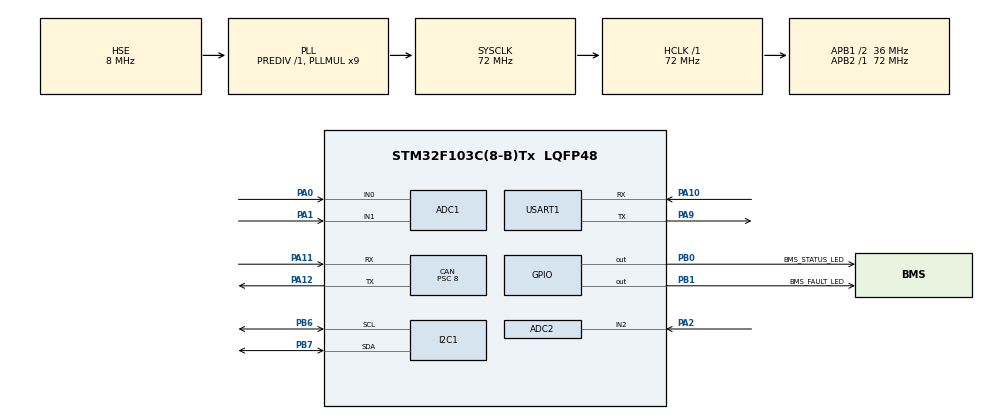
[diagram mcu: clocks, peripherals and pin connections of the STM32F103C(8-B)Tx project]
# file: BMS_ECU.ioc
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ADC1.Channel-0\#ChannelRegularConversion=ADC_CHANNEL_0
ADC1.Channel-1\#ChannelRegularConversion=ADC_CHANNEL_1
ADC1.Channel-2\#ChannelRegularConversion=ADC_CHANNEL_2
ADC1.NbrOfConversion=3
ADC1.NbrOfConversionFlag=1
ADC1.Rank-0\#ChannelRegularConversion=1
ADC1.Rank-1\#ChannelRegularConversion=2
ADC1.Rank-2\#ChannelRegularConversion=3
ADC1.SamplingTime-0\#ChannelRegularConversion=ADC_SAMPLETIME_55CYCLES_5
ADC1.SamplingTime-1\#ChannelRegularConversion=ADC_SAMPLETIME_55CYCLES_5
ADC1.SamplingTime-2\#ChannelRegularConversion=ADC_SAMPLETIME_55CYCLES_5
ADC1.master=1
ADC2.Channel-0\#ChannelRegularConversion=ADC_CHANNEL_2
ADC2.NbrOfConversionFlag=1
ADC2.Rank-0\#ChannelRegularConversion=1
ADC2.SamplingTime-0\#ChannelRegularConversion=ADC_SAMPLETIME_1CYCLE_5
CAN.BS1=CAN_BS1_7TQ
CAN.CalculateBaudRate=500000
CAN.CalculateTimeBit=2000
CAN.CalculateTimeQuantum=222.22222222222223
CAN.NART=ENABLE
CAN.Prescaler=8
Mcu.Family=STM32F1
Mcu.Name=STM32F103C(8-B)Tx
Mcu.Package=LQFP48
NVIC.CAN1_SCE_IRQn=true\:0\:0\:false\:false\:true\:true\:true\:true
NVIC.PriorityGroup=NVIC_PRIORITYGROUP_4
NVIC.USB_LP_CAN1_RX0_IRQn=true\:0\:0\:false\:false\:true\:true\:true\:true
PA0-WKUP.Signal=ADCx_IN0
PA1.Signal=ADCx_IN1
PA10.Mode=Asynchronous
PA10.Signal=USART1_RX
PA11.Mode=CAN_Activate
PA11.Signal=CAN_RX
PA12.Mode=CAN_Activate
PA12.Signal=CAN_TX
PA13.Mode=Serial_Wire
PA13.Signal=SYS_JTMS-SWDIO
PA14.Mode=Serial_Wire
PA14.Signal=SYS_JTCK-SWCLK
PA2.Signal=ADCx_IN2
PA9.Mode=Asynchronous
PA9.Signal=USART1_TX
PB0.GPIO_Label=BMS_STATUS_LED
PB0.Signal=GPIO_Output
PB1.GPIO_Label=BMS_FAULT_LED
PB1.Signal=GPIO_Output
PB6.Mode=I2C
PB6.Signal=I2C1_SCL
PB7.Mode=I2C
PB7.Signal=I2C1_SDA
PD0-OSC_IN.Mode=HSE-External-Oscillator
PD0-OSC_IN.Signal=RCC_OSC_IN
PD1-OSC_OUT.Mode=HSE-External-Oscillator
PD1-OSC_OUT.Signal=RCC_OSC_OUT
ProjectManager.HeapSize=0x200
ProjectManager.StackSize=0x400
ProjectManager.TargetToolchain=STM32CubeIDE
RCC.ADCPresc=RCC_ADCPCLK2_DIV6
RCC.AHBFreq_Value=72000000
RCC.APB1CLKDivider=RCC_HCLK_DIV2
RCC.APB1Freq_Value=36000000
RCC.APB1TimFreq_Value=72000000
RCC.APB2Freq_Value=72000000
RCC.APB2TimFreq_Value=72000000
RCC.HCLKFreq_Value=72000000
RCC.PLLMUL=RCC_PLL_MUL9
RCC.PLLSourceVirtual=RCC_PLLSOURCE_HSE
RCC.SYSCLKFreq_VALUE=72000000
RCC.SYSCLKSource=RCC_SYSCLKSOURCE_PLLCLK
RCC.USBFreq_Value=72000000
SH.ADCx_IN0.0=ADC1_IN0,IN0
SH.ADCx_IN1.0=ADC1_IN1,IN1
SH.ADCx_IN2.0=ADC2_IN2,IN2
SH.ADCx_IN2.1=ADC1_IN2,IN2
USART1.VirtualMode=VM_ASYNC
board=custom

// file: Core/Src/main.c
/* USER CODE BEGIN Header */
/**
  ******************************************************************************
  * @file           : main.c
  * @brief          : BMS ECU main application
  ******************************************************************************
  */
/* USER CODE END Header */

#include "main.h"

/* USER CODE BEGIN Includes */

#include "adc.h"
#include "can.h"
#include "i2c.h"
#include "usart.h"

#include "bms_data.h"
#include "bms_config.h"
#include "bms_adc.h"
#include "bms_temperature.h"
#include "bms_soc.h"
#include "bms_soh.h"
#include "bms_faults.h"
#include "bms_can.h"
#include "bms_state.h"
#include "bms_lcd.h"

/* USER CODE END Includes */

/* USER CODE BEGIN PV */

static uint32_t last_adc_update = 0U;
static uint32_t last_temperature_update = 0U;
static uint32_t last_fault_update = 0U;
static uint32_t last_can_update = 0U;
static uint32_t last_lcd_update = 0U;
static uint32_t last_state_update = 0U;

/* USER CODE END PV */

void SystemClock_Config(void);
static void MX_GPIO_Init(void);

/* USER CODE BEGIN PFP */

static void BMS_UpdateOutputs(void);

/* USER CODE END PFP */

/* USER CODE BEGIN 0 */

/**
  * @brief Update BMS status and fault LEDs.
  *
  * PB0 = BMS status LED
  * PB1 = BMS fault LED
  */
static void BMS_UpdateOutputs(void)
{
    BMS_SystemState_t state = BMS_Data.system_state;

    /* ---------------------------------------------------------- */
    /* STATUS LED                                                  */
    /* ---------------------------------------------------------- */

    if ((state == BMS_SYSTEM_NORMAL) ||
        (state == BMS_SYSTEM_WARNING))
    {
        HAL_GPIO_WritePin(
            BMS_STATUS_LED_GPIO_PORT,
            BMS_STATUS_LED_PIN,
            GPIO_PIN_SET);
    }
    else
    {
        HAL_GPIO_WritePin(
            BMS_STATUS_LED_GPIO_PORT,
            BMS_STATUS_LED_PIN,
            GPIO_PIN_RESET);
    }

    /* ---------------------------------------------------------- */
    /* FAULT LED                                                   */
    /* ---------------------------------------------------------- */

    if ((state == BMS_SYSTEM_FAULT) ||
        (BMS_Data.fault_status != 0U) ||
        (BMS_Data.fault_latched != 0U))
    {
        HAL_GPIO_WritePin(
            BMS_FAULT_LED_GPIO_PORT,
            BMS_FAULT_LED_PIN,
            GPIO_PIN_SET);
    }
    else
    {
        HAL_GPIO_WritePin(
            BMS_FAULT_LED_GPIO_PORT,
            BMS_FAULT_LED_PIN,
            GPIO_PIN_RESET);
    }
}

/* USER CODE END 0 */

int main(void)
{
    /* Reset of all peripherals, Initializes the Flash interface and Systick */
    HAL_Init();

    /* Configure the system clock */
    SystemClock_Config();

    /* Initialize all configured peripherals */
    MX_GPIO_Init();
    MX_ADC1_Init();
    MX_ADC2_Init();
    MX_CAN_Init();
    MX_I2C1_Init();
    MX_USART1_UART_Init();

    /* USER CODE BEGIN 2 */

    /* ========================================================== */
    /* BMS SOFTWARE INITIALIZATION                                */
    /* ========================================================== */

    BMS_ADC_Init();

    BMS_Temperature_Init();

    BMS_SOC_Init();

    BMS_SOH_Init();

    BMS_Faults_Init();

    BMS_State_Init();

    BMS_LCD_Init();

    /* ========================================================== */
    /* START CAN                                                  */
    /* ========================================================== */

    BMS_CAN_Start();

    /* ========================================================== */
    /* INITIAL OUTPUT STATE                                       */
    /* ========================================================== */

    BMS_UpdateOutputs();

    /* ========================================================== */
    /* INITIALIZE SOFTWARE SCHEDULER                              */
    /* ========================================================== */

    {
        uint32_t now = HAL_GetTick();

        last_adc_update = now;
        last_temperature_update = now;
        last_fault_update = now;
        last_can_update = now;
        last_lcd_update = now;
        last_state_update = now;
    }

    /* USER CODE END 2 */

    /* Infinite loop */
    /* USER CODE BEGIN WHILE */

    while (1)
    {
        uint32_t now = HAL_GetTick();

        /* ====================================================== */
        /* ADC UPDATE                                             */
        /* ====================================================== */

        if ((now - last_adc_update) >=
            BMS_ADC_UPDATE_PERIOD_MS)
        {
            last_adc_update = now;

            BMS_ADC_Update();
        }

        /* ====================================================== */
        /* TEMPERATURE UPDATE                                     */
        /* ====================================================== */

        if ((now - last_temperature_update) >=
            BMS_TEMP_UPDATE_PERIOD_MS)
        {
            last_temperature_update = now;

            BMS_Temperature_Update();
        }

        /* ====================================================== */
        /* SOC UPDATE                                             */
        /* ====================================================== */

        BMS_SOC_Update();

        /* ====================================================== */
        /* SOH UPDATE                                             */
        /* ====================================================== */

        BMS_SOH_Update();

        /* ====================================================== */
        /* FAULT UPDATE                                           */
        /* ====================================================== */

        if ((now - last_fault_update) >=
            BMS_FAULT_UPDATE_PERIOD_MS)
        {
            last_fault_update = now;

            BMS_Faults_Update();
        }

        /* ====================================================== */
        /* CAN COMMAND PROCESSING                                  */
        /* ====================================================== */

        BMS_CAN_ProcessCommands();

        /* ====================================================== */
        /* STATE MACHINE UPDATE                                    */
        /* ====================================================== */

        if ((now - last_state_update) >=
            BMS_FAULT_UPDATE_PERIOD_MS)
        {
            last_state_update = now;

            BMS_State_Update();
        }

        /* ====================================================== */
        /* PERIODIC CAN STATUS                                    */
        /* ====================================================== */

        if ((now - last_can_update) >=
            BMS_CAN_UPDATE_PERIOD_MS)
        {
            last_can_update = now;

            BMS_CAN_SendTestMessage();
        }

        /* ====================================================== */
        /* LCD UPDATE                                             */
        /* ====================================================== */

        if ((now - last_lcd_update) >=
            BMS_LCD_UPDATE_PERIOD_MS)
        {
            last_lcd_update = now;

            BMS_LCD_Update();
        }

        /* ====================================================== */
        /* UPDATE OUTPUTS                                         */
        /* ====================================================== */

        BMS_UpdateOutputs();
    }

    /* USER CODE END WHILE */
}

void SystemClock_Config(void)
{
    RCC_OscInitTypeDef RCC_OscInitStruct = {0};
    RCC_ClkInitTypeDef RCC_ClkInitStruct = {0};
    RCC_PeriphCLKInitTypeDef PeriphClkInit = {0};

    /* ========================================================== */
    /* HSE + PLL                                                  */
    /* ========================================================== */

    RCC_OscInitStruct.OscillatorType =
        RCC_OSCILLATORTYPE_HSE;

    RCC_OscInitStruct.HSEState =
        RCC_HSE_ON;

    RCC_OscInitStruct.HSEPredivValue =
        RCC_HSE_PREDIV_DIV1;

    RCC_OscInitStruct.HSIState =
        RCC_HSI_ON;

    RCC_OscInitStruct.PLL.PLLState =
        RCC_PLL_ON;

    RCC_OscInitStruct.PLL.PLLSource =
        RCC_PLLSOURCE_HSE;

    RCC_OscInitStruct.PLL.PLLMUL =
        RCC_PLL_MUL9;

    if (HAL_RCC_OscConfig(&RCC_OscInitStruct) != HAL_OK)
    {
        Error_Handler();
    }

    /* ========================================================== */
    /* CPU / AHB / APB CLOCKS                                    */
    /* ========================================================== */

    RCC_ClkInitStruct.ClockType =
        RCC_CLOCKTYPE_HCLK |
        RCC_CLOCKTYPE_SYSCLK |
        RCC_CLOCKTYPE_PCLK1 |
        RCC_CLOCKTYPE_PCLK2;

    RCC_ClkInitStruct.SYSCLKSource =
        RCC_SYSCLKSOURCE_PLLCLK;

    RCC_ClkInitStruct.AHBCLKDivider =
        RCC_SYSCLK_DIV1;

    RCC_ClkInitStruct.APB1CLKDivider =
        RCC_HCLK_DIV2;

    RCC_ClkInitStruct.APB2CLKDivider =
        RCC_HCLK_DIV1;

    if (HAL_RCC_ClockConfig(
            &RCC_ClkInitStruct,
            FLASH_LATENCY_2) != HAL_OK)
    {
        Error_Handler();
    }

    /* ========================================================== */
    /* ADC CLOCK = PCLK2 / 6                                      */
    /* ========================================================== */

    PeriphClkInit.PeriphClockSelection =
        RCC_PERIPHCLK_ADC;

    PeriphClkInit.AdcClockSelection =
        RCC_ADCPCLK2_DIV6;

    if (HAL_RCCEx_PeriphCLKConfig(
            &PeriphClkInit) != HAL_OK)
    {
        Error_Handler();
    }
}

static void MX_GPIO_Init(void)
{
    GPIO_InitTypeDef GPIO_InitStruct = {0};

    /* GPIO Ports Clock Enable */
    __HAL_RCC_GPIOC_CLK_ENABLE();
    __HAL_RCC_GPIOD_CLK_ENABLE();
    __HAL_RCC_GPIOA_CLK_ENABLE();
    __HAL_RCC_GPIOB_CLK_ENABLE();

    /* ========================================================== */
    /* BMS STATUS LED - PB0                                      */
    /* ========================================================== */

    HAL_GPIO_WritePin(
        BMS_STATUS_LED_GPIO_PORT,
        BMS_STATUS_LED_PIN,
        GPIO_PIN_RESET);

    GPIO_InitStruct.Pin =
        BMS_STATUS_LED_PIN;

    GPIO_InitStruct.Mode =
        GPIO_MODE_OUTPUT_PP;

    GPIO_InitStruct.Pull =
        GPIO_NOPULL;

    GPIO_InitStruct.Speed =
        GPIO_SPEED_FREQ_LOW;

    HAL_GPIO_Init(
        BMS_STATUS_LED_GPIO_PORT,
        &GPIO_InitStruct);

    /* ========================================================== */
    /* BMS FAULT LED - PB1                                       */
    /* ========================================================== */

    HAL_GPIO_WritePin(
        BMS_FAULT_LED_GPIO_PORT,
        BMS_FAULT_LED_PIN,
        GPIO_PIN_RESET);

    GPIO_InitStruct.Pin =
        BMS_FAULT_LED_PIN;

    GPIO_InitStruct.Mode =
        GPIO_MODE_OUTPUT_PP;

    GPIO_InitStruct.Pull =
        GPIO_NOPULL;

    GPIO_InitStruct.Speed =
        GPIO_SPEED_FREQ_LOW;

    HAL_GPIO_Init(
        BMS_FAULT_LED_GPIO_PORT,
        &GPIO_InitStruct);
}

void Error_Handler(void)
{
    __disable_irq();

    while (1)
    {
        /*
         * Fatal MCU/HAL initialization error.
         */
    }
}
